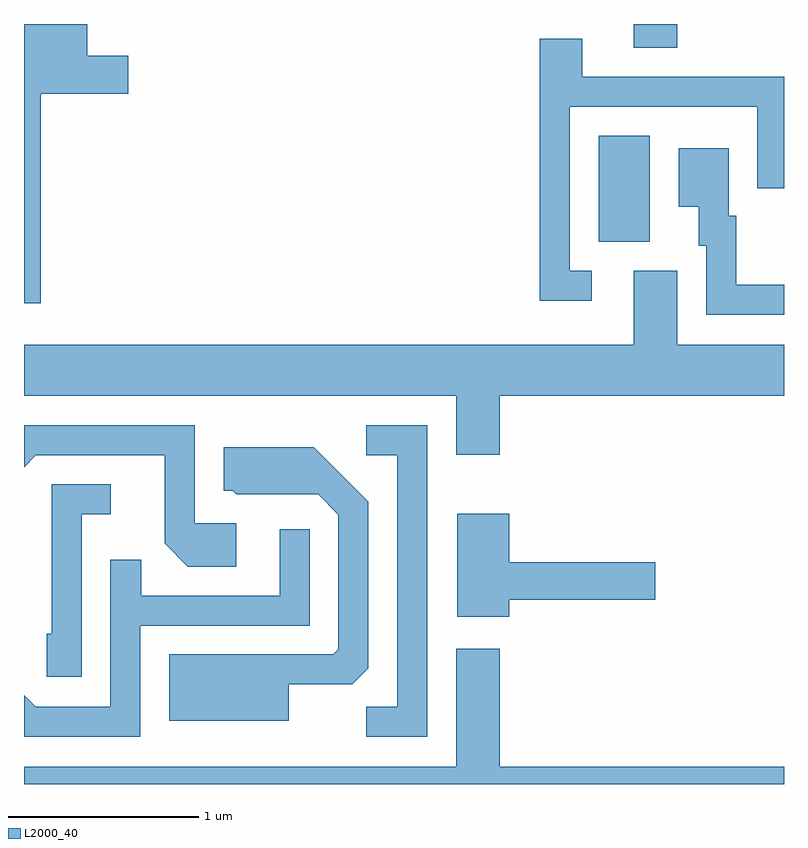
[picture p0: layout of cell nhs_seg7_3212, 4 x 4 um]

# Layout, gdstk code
import gdstk
lib = gdstk.Library(unit=1e-6, precision=1e-09)
def R(c, l, rs):  # rectangles x0, y0, x1, y1
    for r in rs: c.add(gdstk.rectangle(r[:2], r[2:], *l))
def P(c, l, *ps):  # polygons
    for p in ps: c.add(gdstk.Polygon(p, *l))
L2000_40 = (2000, 40)

nhs_seg7_3212 = lib.new_cell('nhs_seg7_3212')
R(nhs_seg7_3212, L2000_40, [(286.636,1735.106,286.904,1735.664), (286.821,1736.126,287.049,1736.252)])
P(nhs_seg7_3212, L2000_40, [(283.699,1735.886),(284.159,1735.886),(284.159,1736.084),(283.944,1736.084),(283.944,1736.252),(283.611,1736.252),(283.611,1734.783),(283.699,1734.783)],
  [(286.598,1734.954),(286.484,1734.954),(286.484,1735.816),(287.471,1735.816),(287.471,1735.388),(287.611,1735.388),(287.611,1735.974),(286.549,1735.974),(286.549,1736.174),(286.326,1736.174),(286.326,1734.796),(286.598,1734.796)],
  [(287.611,1734.879),(287.359,1734.879),(287.359,1735.244),(287.319,1735.244),(287.319,1735.599),(287.056,1735.599),(287.056,1735.291),(287.161,1735.291),(287.161,1735.086),(287.201,1735.086),(287.201,1734.721),(287.611,1734.721)],
  [(286.114,1734.296),(287.611,1734.296),(287.611,1734.564),(287.049,1734.564),(287.049,1734.954),(286.821,1734.954),(286.821,1734.564),(283.611,1734.564),(283.611,1734.296),(285.886,1734.296),(285.886,1733.986),(286.114,1733.986)],
  [(285.734,1734.139),(285.413,1734.139),(285.413,1733.981),(285.576,1733.981),(285.576,1732.659),(285.413,1732.659),(285.413,1732.501),(285.734,1732.501)],
  [(284.729,1733.624),(284.509,1733.624),(284.509,1734.139),(283.611,1734.139),(283.611,1733.92),(283.672,1733.981),(284.351,1733.981),(284.351,1733.519),(284.474,1733.396),(284.729,1733.396)],
  [(285.004,1732.776),(285.339,1732.776),(285.424,1732.862),(285.424,1733.737),(285.137,1734.024),(284.661,1734.024),(284.661,1733.796),(284.709,1733.796),(284.729,1733.776),(285.159,1733.776),(285.266,1733.669),(285.266,1732.962),(285.239,1732.934),(284.376,1732.934),(284.376,1732.586),(285.004,1732.586)],
  [(283.914,1733.671),(284.068,1733.671),(284.068,1733.829),(283.756,1733.829),(283.756,1733.044),(283.731,1733.044),(283.731,1732.816),(283.914,1732.816)],
  [(286.164,1733.221),(286.934,1733.221),(286.934,1733.419),(286.164,1733.419),(286.164,1733.674),(285.891,1733.674),(285.891,1733.131),(286.164,1733.131)],
  [(284.224,1733.086),(285.114,1733.086),(285.114,1733.593),(284.956,1733.593),(284.956,1733.244),(284.229,1733.244),(284.229,1733.433),(284.066,1733.433),(284.066,1732.659),(283.672,1732.659),(283.611,1732.72),(283.611,1732.501),(284.224,1732.501)],
  [(287.611,1732.344),(286.114,1732.344),(286.114,1732.964),(285.886,1732.964),(285.886,1732.344),(283.611,1732.344),(283.611,1732.252),(287.611,1732.252)])

lib.write_gds('nhs_seg7_3212.gds')
